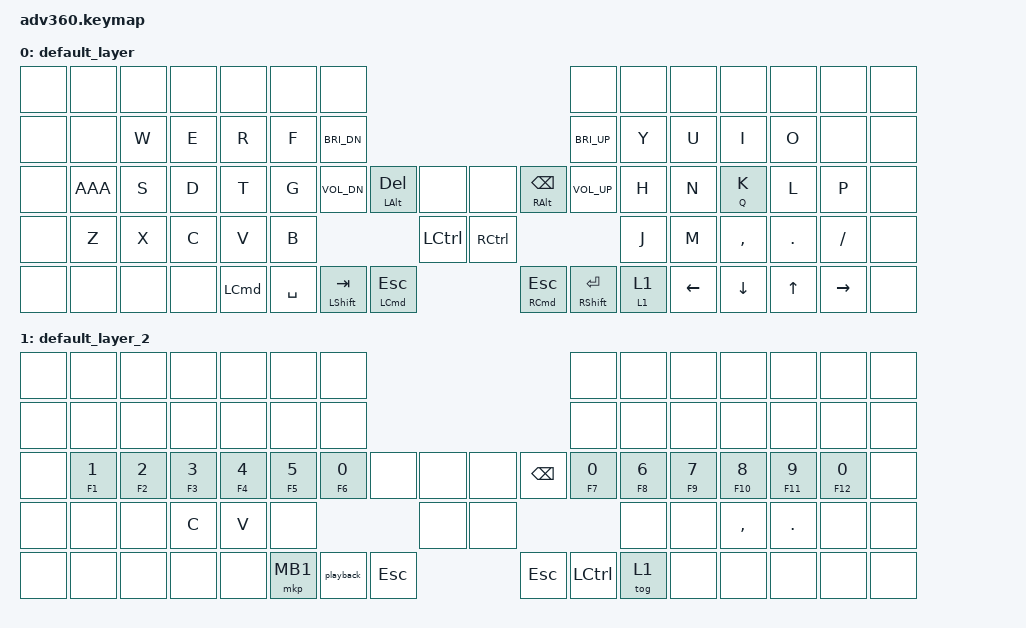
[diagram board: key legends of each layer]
/*
 * Copyright (c) 2020 The ZMK Contributors
 * SPDX-License-Identifier: MIT
 */

#include <behaviors.dtsi>
#include <dt-bindings/zmk/keys.h>
#include <dt-bindings/zmk/mouse.h>

#define MOD_SHIFT (MOD_LSFT|MOD_RSFT)
#define MOD_ALT (MOD_LALT|MOD_RALT)
#define MOD_CTRL (MOD_LCTL|MOD_RCTL)
#define MOD_GUI (MOD_LGUI|MOD_RGUI)
#define MOD_ANY (MOD_SHIFT|MOD_ALT|MOD_CTRL|MOD_GUI)

/*
 * This preprocessor is a ZMK macro generator.
 * Its abbreviated name `LMOD` stands for "Activate a layer (e.g. `&mo 1`) and auto-hold some modifier keys (e.g. `LEFT_SHIFT`)".
 * You can use it for momentary layer switches with automatically pressed modifier keys.
 * Example: LMOD(modifier_alt, 0, LALT)
 * @param {int} layer - Index of the layer that wants to be toggled.
 * @param {int=0} mods - A bit field of modifiers that wants to be held down, for example, `(MOD_LSFT|MOD_RSFT|MOD_LCTL|MOD_RCTL|MOD_LALT|MOD_RALT|MOD_LGUI|MOD_RGUI)`. Pass `0` to toggle the layer without any modifiers.
 * @param {string} name - The reference name for the ZMK macro which will be used for mappings, for example, name `left_shift` would become a callable reference `&left_shift` inside of keymap bindings.
 */
#define LMOD(name, layer, mods) \
    name: name##_macro { \
        compatible = "zmk,behavior-macro"; \
        wait-ms = <0>; \
        #binding-cells = <0>; \
        bindings = \
            <&macro_press &mo layer &kp mods>, \
            <&macro_pause_for_release>, \
            <&macro_release &mo layer &kp mods>; \
    };

/*
 * Examples:
       TMOD(tap_a, (MOD_ALT|MOD_CTRL), 0, &tap_a_alternated, &tap_a_controlled)
       TMOD(tap_a_alternated, MOD_ALT, 0, &kp B, &tap_a_controlled)
       TMOD(tap_a_controlled, MOD_CTRL, 0, &kp C, &kp A)
 * @param name - Reference name for mappings, for example, name `tap_a` would become a callable reference `&tap_a` inside of keymap bindings.
 * @param trigger - A bit field of modifiers that wants to be held down, for example, `(MOD_LSFT|MOD_RSFT|MOD_LCTL|MOD_RCTL|MOD_LALT|MOD_RALT|MOD_LGUI|MOD_RGUI)`. Pass `0` to toggle the layer without any modifiers.
 * @param forward - Send pressed modifiers along, for example, `MOD_ANY` or `0` for none
 * @param delegate - Return binding for key tap
 * @param resolve - Return binding for key hold
 */
#define TMOD(name, trigger, forward, delegate, resolve) \
    name: name##_morph { \
        compatible = "zmk,behavior-mod-morph"; \
        mods = <(trigger)>; \
        keep-mods = <(forward)>; \
        #binding-cells = <0>; \
        bindings = <resolve>, <delegate>; \
    };

#define HMOD(name, action) \
    name: name##_hold_tap { \
        compatible = "zmk,behavior-hold-tap"; \
        tapping-term-ms = <180>; \
        quick-tap-ms = <120>; \
        flavor = "balanced"; \
        #binding-cells = <2>; \
        bindings = <action>, <&kp>; \
    };

#define TAPHOLD_SYMBOL(NAME, TAP, HOLD) \
    NAME: NAME##_hold_tap { \
        compatible = "zmk,behavior-hold-tap"; \
        #binding-cells = <2>; \
        tapping-term-ms = <180>; \
        quick-tap-ms = <120>; \
        flavor = "tap-preferred"; \
        bindings = <HOLD>, <TAP>; \
    };
/*
 * Keybinding generator
 * @param name - Reference name for mappings
 * @param action - Return binding for regular key tap
 * @params alt_action - Morphed return binding for key tap during (MOD_LALT|MOD_RALT) morphing
 * @params ctrl_action - Morphed return binding for key tap during (MOD_LCTRL|MOD_RCTRL) morphing
 */
#define MORPH_TAP(name, action, alt_action, ctrl_action) \
    TMOD(name, (MOD_ALT|MOD_CTRL), 0, &name##_forward_alt, action) \
    TMOD(name##_forward_alt, MOD_ALT, 0, alt_action, &name##_forward_ctrl) \
    TMOD(name##_forward_ctrl, MOD_CTRL, 0, ctrl_action, action)

&mt {
    tapping-term-ms = <180>;
    quick-tap-ms = <180>;
};

/ {
    macros {
        #include "version.dtsi"
        
        umlaut: umlaut_macro {
            compatible = "zmk,behavior-macro";
            wait-ms = <0>;
            tap-ms = <0>;
            #binding-cells = <0>;
            bindings = 
                <&macro_press &kp LALT>,
                <&macro_tap &kp U>,
                <&macro_release &kp LALT>,
                <&macro_pause_for_release>;
        };

        a_umlaut: a_umlaut_macro {
            compatible = "zmk,behavior-macro";
            wait-ms = <0>;
            tap-ms = <0>;
            #binding-cells = <0>;
            bindings = 
                <&macro_tap &umlaut &kp A>;
        };

        MORPH_TAP(tap_a, &kp A, &kp B, &kp C)

        TAPHOLD_SYMBOL(AAA, &tap_a, &a_umlaut)
    };

    behaviors {
        motog: hold_tap_toggle_momentary_layer_behaviour {
            compatible = "zmk,behavior-hold-tap";
            tapping-term-ms = <175>;
            flavor = "hold-preferred";
            #binding-cells = <2>;
            bindings = <&mo>, <&tog>;
        };

        playback: media_playback_macro {
            compatible = "zmk,behavior-tap-dance";
            tapping-term-ms = <225>;
            #binding-cells = <0>;
            bindings = <&kp C_PP>, <&kp C_NEXT>, <&kp C_PREV>;
        };
    };

    keymap {
        compatible = "zmk,keymap";

        default_layer {
            bindings = <
                &none        &none                   &none        &none        &none           &none        &none                                                                                                                                           &none               &none        &none           &none            &none          &none            &none
                &none        &none                   &kp W        &kp E        &kp R           &kp F        &kp C_BRI_DN                                                                                                                                    &kp C_BRI_UP        &kp Y        &kp U           &kp I            &kp O          &none            &none
                &none        &AAA                    &kp S        &kp D        &kp T           &kp G        &kp C_VOL_DN                         &mt LALT DELETE        &none               &none               &mt RALT BACKSPACE                          &kp C_VOL_UP        &kp H        &kp N           &mt Q K          &kp L          &kp P            &none
                &none        &kp Z                   &kp X        &kp C        &kp V           &kp B                                                                    &kp LCTRL           &kp RCTRL                                                                           &kp J        &kp M           &kp COMMA        &kp DOT        &kp SLASH        &none
                &none        &none                   &none        &none        &kp LCMD                                         &kp SPACE        &mt LSHIFT TAB         &mt LCMD ESC        &mt RCMD ESC        &mt RSHIFT RETURN         &motog 1 1                                         &kp LEFT        &kp DOWN         &kp UP         &kp RIGHT        &none
            >;
        };

        default_layer_2 {
            bindings = <
                &none        &none               &none               &none              &none               &none               &none                                                                                                                      &none         &none               &none               &none               &none               &none               &none
                &none        &none               &none               &none              &none               &none               &none                                                                                                                      &none         &none               &none               &none               &none               &none               &none
                &none        &mt F1 N1           &mt F2 N2           &mt F3 N3          &mt F4 N4           &mt F5 N5           &mt F6 0                       &none            &none           &none            &kp BACKSPACE                             &mt F7 0      &mt F8 N6           &mt F9 N7           &mt F10 N8          &mt F11 N9          &mt F12 N0          &none
                &none        &none               &none               &kp C              &kp V               &none                                                               &none           &none                                                                    &none               &none               &kp COMMA           &kp DOT             &none               &none
                &none        &none               &none               &none              &none                                                 &mkp MB1         &playback        &kp ESC         &kp ESC          &kp LCTRL             &tog 1                                                &none               &none               &none               &none               &none
            >;
        };
    };
};
